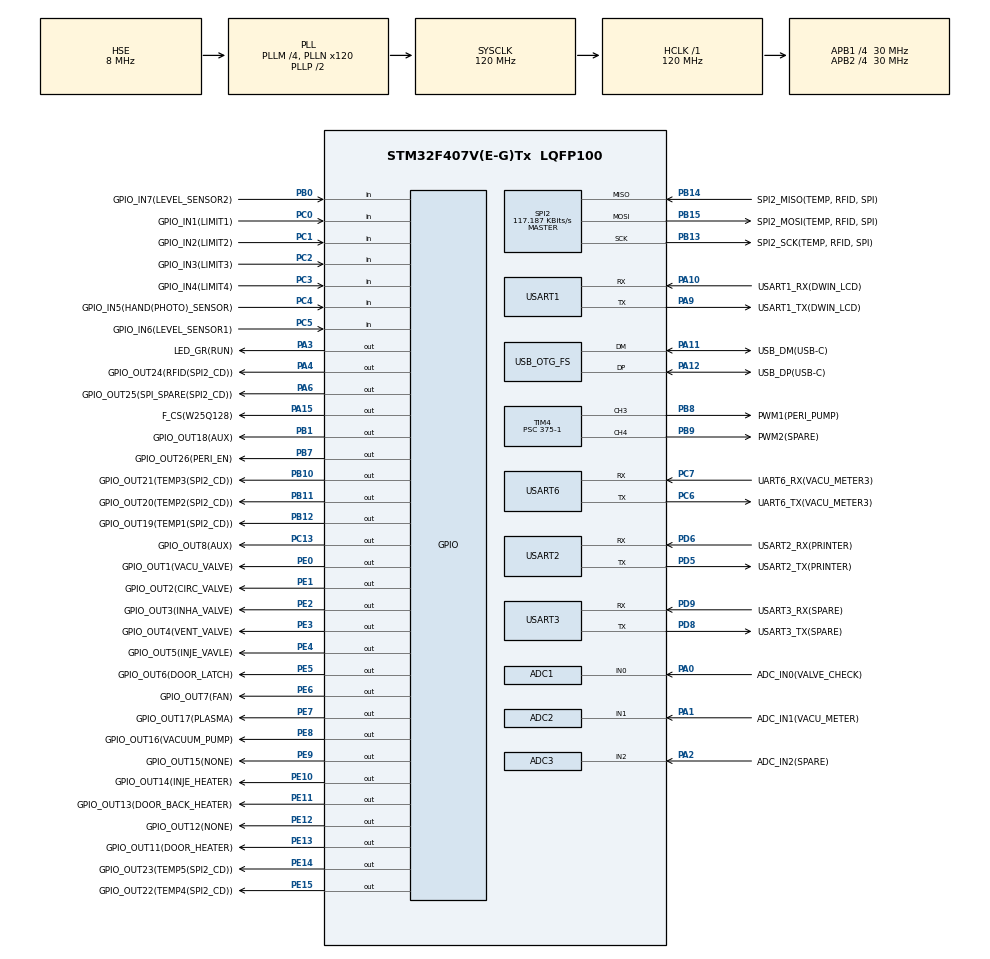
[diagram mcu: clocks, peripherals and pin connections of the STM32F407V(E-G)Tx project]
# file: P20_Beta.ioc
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ADC1.Channel-3\#ChannelRegularConversion=ADC_CHANNEL_0
ADC1.Channel-4\#ChannelInjectedConversion=ADC_CHANNEL_0
ADC1.ClockPrescaler=ADC_CLOCK_SYNC_PCLK_DIV8
ADC1.InjNumberOfConversion=1
ADC1.InjectedOffset-4\#ChannelInjectedConversion=0
ADC1.InjectedRank-4\#ChannelInjectedConversion=1
ADC1.NbrOfConversion=1
ADC1.NbrOfConversionFlag=1
ADC1.Rank-3\#ChannelRegularConversion=1
ADC1.SamplingTime-3\#ChannelRegularConversion=ADC_SAMPLETIME_3CYCLES
ADC1.SamplingTime-4\#ChannelInjectedConversion=ADC_SAMPLETIME_3CYCLES
ADC1.master=1
ADC2.Channel-10\#ChannelRegularConversion=ADC_CHANNEL_1
ADC2.Channel-11\#ChannelRegularConversion=ADC_CHANNEL_1
ADC2.Channel-12\#ChannelRegularConversion=ADC_CHANNEL_1
ADC2.Channel-13\#ChannelRegularConversion=ADC_CHANNEL_1
ADC2.Channel-14\#ChannelRegularConversion=ADC_CHANNEL_1
ADC2.ClockPrescaler=ADC_CLOCK_SYNC_PCLK_DIV8
ADC2.ContinuousConvMode=ENABLE
ADC2.DMAContinuousRequests=ENABLE
ADC2.DiscontinuousConvMode=DISABLE
ADC2.NbrOfConversion=5
ADC2.NbrOfConversionFlag=1
ADC2.Rank-10\#ChannelRegularConversion=1
ADC2.Rank-11\#ChannelRegularConversion=2
ADC2.Rank-12\#ChannelRegularConversion=3
ADC2.Rank-13\#ChannelRegularConversion=4
ADC2.Rank-14\#ChannelRegularConversion=5
ADC2.SamplingTime-10\#ChannelRegularConversion=ADC_SAMPLETIME_15CYCLES
ADC2.SamplingTime-11\#ChannelRegularConversion=ADC_SAMPLETIME_15CYCLES
ADC2.SamplingTime-12\#ChannelRegularConversion=ADC_SAMPLETIME_15CYCLES
ADC2.SamplingTime-13\#ChannelRegularConversion=ADC_SAMPLETIME_15CYCLES
ADC2.SamplingTime-14\#ChannelRegularConversion=ADC_SAMPLETIME_15CYCLES
ADC2.ScanConvMode=ENABLE
ADC3.Channel-2\#ChannelRegularConversion=ADC_CHANNEL_2
ADC3.ClockPrescaler=ADC_CLOCK_SYNC_PCLK_DIV8
ADC3.NbrOfConversionFlag=1
ADC3.Rank-2\#ChannelRegularConversion=1
ADC3.SamplingTime-2\#ChannelRegularConversion=ADC_SAMPLETIME_3CYCLES
Dma.ADC2.0.Direction=DMA_PERIPH_TO_MEMORY
Dma.ADC2.0.FIFOMode=DMA_FIFOMODE_DISABLE
Dma.ADC2.0.Instance=DMA2_Stream2
Dma.ADC2.0.MemDataAlignment=DMA_MDATAALIGN_WORD
Dma.ADC2.0.MemInc=DMA_MINC_ENABLE
Dma.ADC2.0.Mode=DMA_CIRCULAR
Dma.ADC2.0.PeriphDataAlignment=DMA_PDATAALIGN_WORD
Dma.ADC2.0.PeriphInc=DMA_PINC_DISABLE
Dma.ADC2.0.Priority=DMA_PRIORITY_LOW
Dma.Request0=ADC2
FATFS._USE_LFN=1
Mcu.Family=STM32F4
Mcu.Name=STM32F407V(E-G)Tx
Mcu.Package=LQFP100
NVIC.DMA2_Stream2_IRQn=true\:0\:0\:false\:false\:true\:false\:true\:true
NVIC.OTG_FS_IRQn=true\:0\:0\:false\:false\:true\:false\:true\:true
NVIC.PriorityGroup=NVIC_PRIORITYGROUP_4
NVIC.TIM6_DAC_IRQn=true\:15\:0\:false\:false\:true\:false\:true\:true
NVIC.TIM7_IRQn=true\:0\:0\:false\:true\:true\:2\:true\:true\:true
NVIC.TimeBase=TIM6_DAC_IRQn
NVIC.TimeBaseIP=TIM6
NVIC.USART1_IRQn=true\:5\:0\:true\:true\:true\:1\:true\:true\:true
PA0-WKUP.GPIO_Label=ADC_IN0(VALVE_CHECK)
PA0-WKUP.Signal=ADCx_IN0
PA1.GPIO_Label=ADC_IN1(VACU_METER)
PA1.Signal=ADCx_IN1
PA10.GPIO_Label=USART1_RX(DWIN_LCD)
PA10.GPIO_PuPd=GPIO_PULLUP
PA10.Mode=Asynchronous
PA10.Signal=USART1_RX
PA11.GPIO_Label=USB_DM(USB-C)
PA11.GPIO_PuPd=GPIO_PULLUP
PA11.GPIO_Speed=GPIO_SPEED_FREQ_HIGH
PA11.Mode=Host_Only
PA11.Signal=USB_OTG_FS_DM
PA12.GPIO_Label=USB_DP(USB-C)
PA12.GPIO_PuPd=GPIO_PULLUP
PA12.GPIO_Speed=GPIO_SPEED_FREQ_HIGH
PA12.Mode=Host_Only
PA12.Signal=USB_OTG_FS_DP
PA13.Mode=Trace_Asynchronous_SW
PA13.Signal=SYS_JTMS-SWDIO
PA14.Mode=Trace_Asynchronous_SW
PA14.Signal=SYS_JTCK-SWCLK
PA15.GPIO_Label=F_CS(W25Q128)
PA15.GPIO_PuPd=GPIO_PULLUP
PA15.GPIO_Speed=GPIO_SPEED_FREQ_LOW
PA15.PinState=GPIO_PIN_RESET
PA15.Signal=GPIO_Output
PA2.GPIO_Label=ADC_IN2(SPARE)
PA2.Signal=ADCx_IN2
PA3.GPIO_Label=LED_GR(RUN)
PA3.Signal=GPIO_Output
PA4.GPIO_Label=GPIO_OUT24(RFID(SPI2_CD))
PA4.GPIO_PuPd=GPIO_PULLUP
PA4.GPIO_Speed=GPIO_SPEED_FREQ_VERY_HIGH
PA4.PinState=GPIO_PIN_SET
PA4.Signal=GPIO_Output
PA5.GPIO_Mode=GPIO_MODE_AF_PP
PA5.GPIO_PuPd=GPIO_PULLDOWN
PA5.GPIO_Speed=GPIO_SPEED_FREQ_HIGH
PA5.Signal=SPI1_SCK
PA6.GPIO_Label=GPIO_OUT25(SPI_SPARE(SPI2_CD))
PA6.GPIO_PuPd=GPIO_PULLUP
PA6.GPIO_Speed=GPIO_SPEED_FREQ_VERY_HIGH
PA6.PinState=GPIO_PIN_SET
PA6.Signal=GPIO_Output
PA9.GPIO_Label=USART1_TX(DWIN_LCD)
PA9.GPIO_PuPd=GPIO_PULLUP
PA9.Mode=Asynchronous
PA9.Signal=USART1_TX
PB0.GPIO_Label=GPIO_IN7(LEVEL_SENSOR2)
PB0.Signal=GPIO_Input
PB1.GPIO_Label=GPIO_OUT18(AUX)
PB1.GPIO_ModeDefaultOutputPP=GPIO_MODE_OUTPUT_OD
PB1.PinState=GPIO_PIN_SET
PB1.Signal=GPIO_Output
PB10.GPIO_Label=GPIO_OUT21(TEMP3(SPI2_CD))
PB10.GPIO_PuPd=GPIO_PULLUP
PB10.GPIO_Speed=GPIO_SPEED_FREQ_VERY_HIGH
PB10.PinState=GPIO_PIN_SET
PB10.Signal=GPIO_Output
PB11.GPIO_Label=GPIO_OUT20(TEMP2(SPI2_CD))
PB11.GPIO_PuPd=GPIO_PULLUP
PB11.GPIO_Speed=GPIO_SPEED_FREQ_VERY_HIGH
PB11.PinState=GPIO_PIN_SET
PB11.Signal=GPIO_Output
PB12.GPIO_Label=GPIO_OUT19(TEMP1(SPI2_CD))
PB12.GPIO_PuPd=GPIO_PULLUP
PB12.GPIO_Speed=GPIO_SPEED_FREQ_VERY_HIGH
PB12.PinState=GPIO_PIN_SET
PB12.Signal=GPIO_Output
PB13.GPIO_Label=SPI2_SCK(TEMP, RFID, SPI)
PB13.Mode=Full_Duplex_Master
PB13.Signal=SPI2_SCK
PB14.GPIO_Label=SPI2_MISO(TEMP, RFID, SPI)
PB14.GPIO_PuPd=GPIO_PULLUP
PB14.Mode=Full_Duplex_Master
PB14.Signal=SPI2_MISO
PB15.GPIO_Label=SPI2_MOSI(TEMP, RFID, SPI)
PB15.GPIO_PuPd=GPIO_PULLUP
PB15.Mode=Full_Duplex_Master
PB15.Signal=SPI2_MOSI
PB3.Mode=Trace_Asynchronous_SW
PB3.Signal=SYS_JTDO-SWO
PB4.GPIO_Mode=GPIO_MODE_AF_PP
PB4.GPIO_PuPd=GPIO_PULLUP
PB4.GPIO_Speed=GPIO_SPEED_FREQ_HIGH
PB4.Signal=SPI1_MISO
PB5.GPIO_Mode=GPIO_MODE_AF_PP
PB5.GPIO_PuPd=GPIO_NOPULL
PB5.GPIO_Speed=GPIO_SPEED_FREQ_HIGH
PB5.Signal=SPI1_MOSI
PB7.GPIO_Label=GPIO_OUT26(PERI_EN)
PB7.GPIO_ModeDefaultOutputPP=GPIO_MODE_OUTPUT_OD
PB7.PinState=GPIO_PIN_SET
PB7.Signal=GPIO_Output
PB8.GPIO_Label=PWM1(PERI_PUMP)
PB8.GPIO_ModeDefaultPP=GPIO_MODE_AF_PP
PB8.GPIO_PuPd=GPIO_PULLUP
PB8.Signal=S_TIM4_CH3
PB9.GPIO_Label=PWM2(SPARE)
PB9.GPIO_PuPd=GPIO_PULLUP
PB9.Signal=S_TIM4_CH4
PC0.GPIO_Label=GPIO_IN1(LIMIT1)
PC0.Signal=GPIO_Input
PC1.GPIO_Label=GPIO_IN2(LIMIT2)
PC1.Signal=GPIO_Input
PC10.GPIO_Label=SDIO_D2(MICRO_SD)
PC10.GPIO_PuPd=GPIO_PULLUP
PC10.Signal=SDIO_D2
PC11.GPIO_Label=SDIO_D3(MICRO_SD)
PC11.GPIO_PuPd=GPIO_PULLUP
PC11.Signal=SDIO_D3
PC12.GPIO_Label=SDIO_CK(MICRO_SD)
PC12.GPIO_PuPd=GPIO_PULLUP
PC12.Signal=SDIO_CK
PC13-ANTI_TAMP.GPIO_Label=GPIO_OUT8(AUX)
PC13-ANTI_TAMP.Signal=GPIO_Output
PC2.GPIO_Label=GPIO_IN3(LIMIT3)
PC2.Signal=GPIO_Input
PC3.GPIO_Label=GPIO_IN4(LIMIT4)
PC3.Signal=GPIO_Input
PC4.GPIO_Label=GPIO_IN5(HAND(PHOTO)_SENSOR)
PC4.Signal=GPIO_Input
PC5.GPIO_Label=GPIO_IN6(LEVEL_SENSOR1)
PC5.Signal=GPIO_Input
PC6.GPIO_Label=UART6_TX(VACU_METER3)
PC6.Mode=Asynchronous
PC6.Signal=USART6_TX
PC7.GPIO_Label=UART6_RX(VACU_METER3)
PC7.Mode=Asynchronous
PC7.Signal=USART6_RX
PC8.GPIO_Label=SDIO_D0(MICRO_SD)
PC8.GPIO_PuPd=GPIO_PULLUP
PC8.Signal=SDIO_D0
PC9.GPIO_Label=SDIO_D1(MICRO_SD)
PC9.GPIO_PuPd=GPIO_PULLUP
PC9.Signal=SDIO_D1
PD2.GPIO_Label=SDIO_CMD(MICRO_SD)
PD2.GPIO_PuPd=GPIO_PULLUP
PD2.Signal=SDIO_CMD
PD5.GPIO_Label=USART2_TX(PRINTER)
PD5.GPIO_PuPd=GPIO_PULLUP
PD5.Mode=Asynchronous
PD5.Signal=USART2_TX
PD6.GPIO_Label=USART2_RX(PRINTER)
PD6.GPIO_PuPd=GPIO_PULLUP
PD6.Mode=Asynchronous
PD6.Signal=USART2_RX
PD8.GPIO_Label=USART3_TX(SPARE)
PD8.Mode=Asynchronous
PD8.Signal=USART3_TX
PD9.GPIO_Label=USART3_RX(SPARE)
PD9.Mode=Asynchronous
PD9.Signal=USART3_RX
PE0.GPIO_Label=GPIO_OUT1(VACU_VALVE)
PE0.GPIO_ModeDefaultOutputPP=GPIO_MODE_OUTPUT_PP
PE0.GPIO_Speed=GPIO_SPEED_FREQ_VERY_HIGH
PE0.Signal=GPIO_Output
PE1.GPIO_Label=GPIO_OUT2(CIRC_VALVE)
PE1.Signal=GPIO_Output
PE10.GPIO_Label=GPIO_OUT14(INJE_HEATER)
PE10.GPIO_ModeDefaultOutputPP=GPIO_MODE_OUTPUT_OD
PE10.PinState=GPIO_PIN_SET
PE10.Signal=GPIO_Output
PE11.GPIO_Label=GPIO_OUT13(DOOR_BACK_HEATER)
PE11.GPIO_ModeDefaultOutputPP=GPIO_MODE_OUTPUT_OD
PE11.PinState=GPIO_PIN_SET
PE11.Signal=GPIO_Output
PE12.GPIO_Label=GPIO_OUT12(NONE)
PE12.GPIO_ModeDefaultOutputPP=GPIO_MODE_OUTPUT_OD
PE12.PinState=GPIO_PIN_SET
PE12.Signal=GPIO_Output
PE13.GPIO_Label=GPIO_OUT11(DOOR_HEATER)
PE13.GPIO_ModeDefaultOutputPP=GPIO_MODE_OUTPUT_OD
PE13.PinState=GPIO_PIN_SET
PE13.Signal=GPIO_Output
PE14.GPIO_Label=GPIO_OUT23(TEMP5(SPI2_CD))
PE14.GPIO_PuPd=GPIO_PULLUP
PE14.GPIO_Speed=GPIO_SPEED_FREQ_VERY_HIGH
PE14.PinState=GPIO_PIN_SET
PE14.Signal=GPIO_Output
PE15.GPIO_Label=GPIO_OUT22(TEMP4(SPI2_CD))
PE15.GPIO_PuPd=GPIO_PULLUP
PE15.GPIO_Speed=GPIO_SPEED_FREQ_VERY_HIGH
PE15.PinState=GPIO_PIN_SET
PE15.Signal=GPIO_Output
PE2.GPIO_Label=GPIO_OUT3(INHA_VALVE)
PE2.Signal=GPIO_Output
PE3.GPIO_Label=GPIO_OUT4(VENT_VALVE)
PE3.Signal=GPIO_Output
PE4.GPIO_Label=GPIO_OUT5(INJE_VAVLE)
PE4.Signal=GPIO_Output
PE5.GPIO_Label=GPIO_OUT6(DOOR_LATCH)
PE5.Signal=GPIO_Output
PE6.GPIO_Label=GPIO_OUT7(FAN)
PE6.Signal=GPIO_Output
PE7.GPIO_Label=GPIO_OUT17(PLASMA)
PE7.GPIO_ModeDefaultOutputPP=GPIO_MODE_OUTPUT_OD
PE7.PinState=GPIO_PIN_SET
PE7.Signal=GPIO_Output
PE8.GPIO_Label=GPIO_OUT16(VACUUM_PUMP)
PE8.GPIO_ModeDefaultOutputPP=GPIO_MODE_OUTPUT_OD
PE8.PinState=GPIO_PIN_SET
PE8.Signal=GPIO_Output
PE9.GPIO_Label=GPIO_OUT15(NONE)
PE9.GPIO_ModeDefaultOutputPP=GPIO_MODE_OUTPUT_OD
PE9.PinState=GPIO_PIN_SET
PE9.Signal=GPIO_Output
PH0-OSC_IN.Mode=HSE-External-Oscillator
PH0-OSC_IN.Signal=RCC_OSC_IN
PH1-OSC_OUT.Mode=HSE-External-Oscillator
PH1-OSC_OUT.Signal=RCC_OSC_OUT
ProjectManager.HeapSize=0x200
ProjectManager.StackSize=0x400
ProjectManager.TargetToolchain=STM32CubeIDE
RCC.48MHZClocksFreq_Value=48000000
RCC.AHBFreq_Value=120000000
RCC.APB1CLKDivider=RCC_HCLK_DIV4
RCC.APB1Freq_Value=30000000
RCC.APB1TimFreq_Value=60000000
RCC.APB2CLKDivider=RCC_HCLK_DIV4
RCC.APB2Freq_Value=30000000
RCC.APB2TimFreq_Value=60000000
RCC.CortexFreq_Value=120000000
RCC.HCLKFreq_Value=120000000
RCC.HSE_VALUE=8000000
RCC.HSI_VALUE=16000000
RCC.LSE_VALUE=32768
RCC.PLLM=4
RCC.PLLN=120
RCC.PLLQ=5
RCC.PLLSourceVirtual=RCC_PLLSOURCE_HSE
RCC.SYSCLKFreq_VALUE=120000000
RCC.SYSCLKSource=RCC_SYSCLKSOURCE_PLLCLK
RCC.VCOOutputFreq_Value=240000000
SH.ADCx_IN0.0=ADC1_IN0,IN0
SH.ADCx_IN1.0=ADC2_IN1,IN1
SH.ADCx_IN2.0=ADC3_IN2,IN2
SH.S_TIM4_CH3.0=TIM4_CH3,PWM Generation3 CH3
SH.S_TIM4_CH4.0=TIM4_CH4,PWM Generation4 CH4
SPI2.BaudRatePrescaler=SPI_BAUDRATEPRESCALER_256
SPI2.CalculateBaudRate=117.187 KBits/s
SPI2.Direction=SPI_DIRECTION_2LINES
SPI2.Mode=SPI_MODE_MASTER
SPI2.VirtualType=VM_MASTER
TIM4.AutoReloadPreload=TIM_AUTORELOAD_PRELOAD_ENABLE
TIM4.Channel-PWM\ Generation3\ CH3=TIM_CHANNEL_3
TIM4.Channel-PWM\ Generation4\ CH4=TIM_CHANNEL_4
TIM4.Period=550-1
TIM4.Prescaler=375-1
TIM4.Pulse-PWM\ Generation3\ CH3=550/2-1
TIM4.Pulse-PWM\ Generation4\ CH4=550/2-1
TIM7.Period=6000-1
TIM7.Prescaler=10-1
USART1.VirtualMode=VM_ASYNC
USART2.VirtualMode=VM_ASYNC
USART3.VirtualMode=VM_ASYNC
USART6.VirtualMode=VM_ASYNC
USB_HOST.SW_VBUS_DRIVE_MSC_FS=true
USB_HOST.USBH_HandleTypeDef-MSC_FS=hUsbHostFS
USB_HOST.USBH_PROCESS_STACK_SIZE-MSC_FS=1024
USB_HOST.VirtualModeFS=Msc
USB_OTG_FS.VirtualMode=Host_Only
USB_OTG_FS.phy_itface=HCD_PHY_EMBEDDED
VP_CRC_VS_CRC.Mode=CRC_Activate
VP_FATFS_VS_USB.Mode=USB
VP_RTC_VS_RTC_Activate.Mode=RTC_Enabled
VP_RTC_VS_RTC_Calendar.Mode=RTC_Calendar
VP_SYS_VS_tim6.Mode=TIM6
VP_TIM7_VS_ClockSourceINT.Mode=Enable_Timer
VP_USB_HOST_VS_USB_HOST_MSC_FS.Mode=MSC_FS
board=custom

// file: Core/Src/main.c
/* USER CODE BEGIN Header */
/**
  ******************************************************************************
  * @file           : main.c
  * @brief          : Main program body
  ******************************************************************************
  * @attention
  *
  * Copyright (c) 2024 STMicroelectronics.
  * All rights reserved.
  *
  * This software is licensed under terms that can be found in the LICENSE file
  * in the root directory of this software component.
  * If no LICENSE file comes with this software, it is provided AS-IS.
  *
  ******************************************************************************
  */
/* USER CODE END Header */
#include "main.h"
#include "fatfs.h"
#include "usb_host.h"

/* USER CODE BEGIN Includes */
#include "hardware.h"
#include "sensor.h"
#include "peripheral.h"
/* USER CODE END Includes */

ADC_HandleTypeDef hadc1;
ADC_HandleTypeDef hadc2;
ADC_HandleTypeDef hadc3;
DMA_HandleTypeDef hdma_adc2;

CRC_HandleTypeDef hcrc;

RTC_HandleTypeDef hrtc;

SPI_HandleTypeDef hspi2;

TIM_HandleTypeDef htim4;
TIM_HandleTypeDef htim7;

UART_HandleTypeDef huart1;
UART_HandleTypeDef huart2;
UART_HandleTypeDef huart3;
UART_HandleTypeDef huart6;

void SystemClock_Config(void);
static void MX_GPIO_Init(void);
static void MX_DMA_Init(void);
static void MX_RTC_Init(void);
static void MX_SPI2_Init(void);
static void MX_TIM4_Init(void);
static void MX_TIM7_Init(void);
static void MX_USART1_UART_Init(void);
static void MX_USART2_UART_Init(void);
static void MX_USART3_UART_Init(void);
static void MX_USART6_UART_Init(void);
static void MX_ADC2_Init(void);
static void MX_ADC1_Init(void);
static void MX_ADC3_Init(void);
static void MX_CRC_Init(void);
static void MX_NVIC_Init(void);
void MX_USB_HOST_Process(void);

/* USER CODE BEGIN 0 */

unsigned int	mscounter;
unsigned int	EndTimeCounter, EndTestTimeCounter;
unsigned char Timer_DeliSecond_Flag, Timer_Half_1s_Flag, Timer_1s_Flag;
unsigned char UART_Receive_Flag;
unsigned char Running_Flag, EndTimer_Flag, ProcessWait_Flag;

void HAL_UART_RxCpltCallback(UART_HandleTypeDef *huart)
{
    if(huart->Instance == USART1)
    {
    	UART_Receive_Flag = 1;
    	// Restart Interrupt.
    	//HAL_UART_Receive_IT(&huart1, (uint8_t*)LCD_rx_data, 9);
    	//HAL_GPIO_TogglePin(LED_GR_GPIO_Port, LED_GR_Pin);

    }
}

/* USER CODE END 0 */

int main(void)
{

  /* MCU Configuration--------------------------------------------------------*/

  /* Reset of all peripherals, Initializes the Flash interface and the Systick. */
  HAL_Init();

  /* Configure the system clock */
  SystemClock_Config();

  /* Initialize all configured peripherals */
  MX_GPIO_Init();
  MX_DMA_Init();
  MX_RTC_Init();
  MX_SPI2_Init();
  MX_TIM4_Init();
  MX_TIM7_Init();
  MX_USART1_UART_Init();
  MX_USART2_UART_Init();
  MX_USART3_UART_Init();
  MX_USART6_UART_Init();
  MX_ADC2_Init();
  MX_ADC1_Init();
  MX_ADC3_Init();
  MX_CRC_Init();
  MX_FATFS_Init();
  MX_USB_HOST_Init();

  /* Initialize interrupts */
  MX_NVIC_Init();
  /* USER CODE BEGIN 2 */
  HAL_TIM_Base_Start_IT(&htim7);
  Init_Device();
  /* USER CODE END 2 */

  /* Infinite loop */
  /* USER CODE BEGIN WHILE */
  while (1)
  {
	  loop();
    /* USER CODE END WHILE */
    MX_USB_HOST_Process();

  }
}

void SystemClock_Config(void)
{
  RCC_OscInitTypeDef RCC_OscInitStruct = {0};
  RCC_ClkInitTypeDef RCC_ClkInitStruct = {0};

  /** Configure the main internal regulator output voltage
  */
  __HAL_RCC_PWR_CLK_ENABLE();
  __HAL_PWR_VOLTAGESCALING_CONFIG(PWR_REGULATOR_VOLTAGE_SCALE1);

  /** Initializes the RCC Oscillators according to the specified parameters
  * in the RCC_OscInitTypeDef structure.
  */
  RCC_OscInitStruct.OscillatorType = RCC_OSCILLATORTYPE_LSI|RCC_OSCILLATORTYPE_HSE;
  RCC_OscInitStruct.HSEState = RCC_HSE_ON;
  RCC_OscInitStruct.LSIState = RCC_LSI_ON;
  RCC_OscInitStruct.PLL.PLLState = RCC_PLL_ON;
  RCC_OscInitStruct.PLL.PLLSource = RCC_PLLSOURCE_HSE;
  RCC_OscInitStruct.PLL.PLLM = 4;
  RCC_OscInitStruct.PLL.PLLN = 120;
  RCC_OscInitStruct.PLL.PLLP = RCC_PLLP_DIV2;
  RCC_OscInitStruct.PLL.PLLQ = 5;
  if (HAL_RCC_OscConfig(&RCC_OscInitStruct) != HAL_OK)
  {
    Error_Handler();
  }

  /** Initializes the CPU, AHB and APB buses clocks
  */
  RCC_ClkInitStruct.ClockType = RCC_CLOCKTYPE_HCLK|RCC_CLOCKTYPE_SYSCLK
                              |RCC_CLOCKTYPE_PCLK1|RCC_CLOCKTYPE_PCLK2;
  RCC_ClkInitStruct.SYSCLKSource = RCC_SYSCLKSOURCE_PLLCLK;
  RCC_ClkInitStruct.AHBCLKDivider = RCC_SYSCLK_DIV1;
  RCC_ClkInitStruct.APB1CLKDivider = RCC_HCLK_DIV4;
  RCC_ClkInitStruct.APB2CLKDivider = RCC_HCLK_DIV4;

  if (HAL_RCC_ClockConfig(&RCC_ClkInitStruct, FLASH_LATENCY_3) != HAL_OK)
  {
    Error_Handler();
  }
}

/**
  * @brief NVIC Configuration.
  * @retval None
  */
static void MX_NVIC_Init(void)
{
  /* USART1_IRQn interrupt configuration */
  HAL_NVIC_SetPriority(USART1_IRQn, 5, 0);
  HAL_NVIC_EnableIRQ(USART1_IRQn);
  /* TIM7_IRQn interrupt configuration */
  HAL_NVIC_SetPriority(TIM7_IRQn, 0, 0);
  HAL_NVIC_EnableIRQ(TIM7_IRQn);
}

static void MX_ADC1_Init(void)
{

  ADC_ChannelConfTypeDef sConfig = {0};
  ADC_InjectionConfTypeDef sConfigInjected = {0};

  /** Configure the global features of the ADC (Clock, Resolution, Data Alignment and number of conversion)
  */
  hadc1.Instance = ADC1;
  hadc1.Init.ClockPrescaler = ADC_CLOCK_SYNC_PCLK_DIV8;
  hadc1.Init.Resolution = ADC_RESOLUTION_12B;
  hadc1.Init.ScanConvMode = DISABLE;
  hadc1.Init.ContinuousConvMode = DISABLE;
  hadc1.Init.DiscontinuousConvMode = DISABLE;
  hadc1.Init.ExternalTrigConvEdge = ADC_EXTERNALTRIGCONVEDGE_NONE;
  hadc1.Init.ExternalTrigConv = ADC_SOFTWARE_START;
  hadc1.Init.DataAlign = ADC_DATAALIGN_RIGHT;
  hadc1.Init.NbrOfConversion = 1;
  hadc1.Init.DMAContinuousRequests = DISABLE;
  hadc1.Init.EOCSelection = ADC_EOC_SINGLE_CONV;
  if (HAL_ADC_Init(&hadc1) != HAL_OK)
  {
    Error_Handler();
  }

  /** Configure for the selected ADC regular channel its corresponding rank in the sequencer and its sample time.
  */
  sConfig.Channel = ADC_CHANNEL_0;
  sConfig.Rank = 1;
  sConfig.SamplingTime = ADC_SAMPLETIME_3CYCLES;
  if (HAL_ADC_ConfigChannel(&hadc1, &sConfig) != HAL_OK)
  {
    Error_Handler();
  }

  /** Configures for the selected ADC injected channel its corresponding rank in the sequencer and its sample time
  */
  sConfigInjected.InjectedChannel = ADC_CHANNEL_0;
  sConfigInjected.InjectedRank = 1;
  sConfigInjected.InjectedNbrOfConversion = 1;
  sConfigInjected.InjectedSamplingTime = ADC_SAMPLETIME_3CYCLES;
  sConfigInjected.ExternalTrigInjecConvEdge = ADC_EXTERNALTRIGINJECCONVEDGE_NONE;
  sConfigInjected.ExternalTrigInjecConv = ADC_INJECTED_SOFTWARE_START;
  sConfigInjected.AutoInjectedConv = DISABLE;
  sConfigInjected.InjectedDiscontinuousConvMode = DISABLE;
  sConfigInjected.InjectedOffset = 0;
  if (HAL_ADCEx_InjectedConfigChannel(&hadc1, &sConfigInjected) != HAL_OK)
  {
    Error_Handler();
  }

}

static void MX_ADC2_Init(void)
{

  ADC_ChannelConfTypeDef sConfig = {0};

  /** Configure the global features of the ADC (Clock, Resolution, Data Alignment and number of conversion)
  */
  hadc2.Instance = ADC2;
  hadc2.Init.ClockPrescaler = ADC_CLOCK_SYNC_PCLK_DIV8;
  hadc2.Init.Resolution = ADC_RESOLUTION_12B;
  hadc2.Init.ScanConvMode = ENABLE;
  hadc2.Init.ContinuousConvMode = ENABLE;
  hadc2.Init.DiscontinuousConvMode = DISABLE;
  hadc2.Init.ExternalTrigConvEdge = ADC_EXTERNALTRIGCONVEDGE_NONE;
  hadc2.Init.ExternalTrigConv = ADC_SOFTWARE_START;
  hadc2.Init.DataAlign = ADC_DATAALIGN_RIGHT;
  hadc2.Init.NbrOfConversion = 5;
  hadc2.Init.DMAContinuousRequests = ENABLE;
  hadc2.Init.EOCSelection = ADC_EOC_SINGLE_CONV;
  if (HAL_ADC_Init(&hadc2) != HAL_OK)
  {
    Error_Handler();
  }

  /** Configure for the selected ADC regular channel its corresponding rank in the sequencer and its sample time.
  */
  sConfig.Channel = ADC_CHANNEL_1;
  sConfig.Rank = 1;
  sConfig.SamplingTime = ADC_SAMPLETIME_15CYCLES;
  if (HAL_ADC_ConfigChannel(&hadc2, &sConfig) != HAL_OK)
  {
    Error_Handler();
  }

  /** Configure for the selected ADC regular channel its corresponding rank in the sequencer and its sample time.
  */
  sConfig.Rank = 2;
  if (HAL_ADC_ConfigChannel(&hadc2, &sConfig) != HAL_OK)
  {
    Error_Handler();
  }

  /** Configure for the selected ADC regular channel its corresponding rank in the sequencer and its sample time.
  */
  sConfig.Rank = 3;
  if (HAL_ADC_ConfigChannel(&hadc2, &sConfig) != HAL_OK)
  {
    Error_Handler();
  }

  /** Configure for the selected ADC regular channel its corresponding rank in the sequencer and its sample time.
  */
  sConfig.Rank = 4;
  if (HAL_ADC_ConfigChannel(&hadc2, &sConfig) != HAL_OK)
  {
    Error_Handler();
  }

  /** Configure for the selected ADC regular channel its corresponding rank in the sequencer and its sample time.
  */
  sConfig.Rank = 5;
  if (HAL_ADC_ConfigChannel(&hadc2, &sConfig) != HAL_OK)
  {
    Error_Handler();
  }

}

static void MX_ADC3_Init(void)
{

  ADC_ChannelConfTypeDef sConfig = {0};

  /** Configure the global features of the ADC (Clock, Resolution, Data Alignment and number of conversion)
  */
  hadc3.Instance = ADC3;
  hadc3.Init.ClockPrescaler = ADC_CLOCK_SYNC_PCLK_DIV8;
  hadc3.Init.Resolution = ADC_RESOLUTION_12B;
  hadc3.Init.ScanConvMode = DISABLE;
  hadc3.Init.ContinuousConvMode = DISABLE;
  hadc3.Init.DiscontinuousConvMode = DISABLE;
  hadc3.Init.ExternalTrigConvEdge = ADC_EXTERNALTRIGCONVEDGE_NONE;
  hadc3.Init.ExternalTrigConv = ADC_SOFTWARE_START;
  hadc3.Init.DataAlign = ADC_DATAALIGN_RIGHT;
  hadc3.Init.NbrOfConversion = 1;
  hadc3.Init.DMAContinuousRequests = DISABLE;
  hadc3.Init.EOCSelection = ADC_EOC_SINGLE_CONV;
  if (HAL_ADC_Init(&hadc3) != HAL_OK)
  {
    Error_Handler();
  }

  /** Configure for the selected ADC regular channel its corresponding rank in the sequencer and its sample time.
  */
  sConfig.Channel = ADC_CHANNEL_2;
  sConfig.Rank = 1;
  sConfig.SamplingTime = ADC_SAMPLETIME_3CYCLES;
  if (HAL_ADC_ConfigChannel(&hadc3, &sConfig) != HAL_OK)
  {
    Error_Handler();
  }

}

static void MX_CRC_Init(void)
{

  hcrc.Instance = CRC;
  if (HAL_CRC_Init(&hcrc) != HAL_OK)
  {
    Error_Handler();
  }

}

static void MX_RTC_Init(void)
{

  RTC_TimeTypeDef sTime = {0};
  RTC_DateTypeDef sDate = {0};

  /** Initialize RTC Only
  */
  hrtc.Instance = RTC;
  hrtc.Init.HourFormat = RTC_HOURFORMAT_24;
  hrtc.Init.AsynchPrediv = 127;
  hrtc.Init.SynchPrediv = 255;
  hrtc.Init.OutPut = RTC_OUTPUT_DISABLE;
  hrtc.Init.OutPutPolarity = RTC_OUTPUT_POLARITY_HIGH;
  hrtc.Init.OutPutType = RTC_OUTPUT_TYPE_OPENDRAIN;
  if (HAL_RTC_Init(&hrtc) != HAL_OK)
  {
    Error_Handler();
  }

  /** Initialize RTC and set the Time and Date
  */
  sTime.Hours = 0x0;
  sTime.Minutes = 0x0;
  sTime.Seconds = 0x0;
  sTime.DayLightSaving = RTC_DAYLIGHTSAVING_NONE;
  sTime.StoreOperation = RTC_STOREOPERATION_RESET;
  if (HAL_RTC_SetTime(&hrtc, &sTime, RTC_FORMAT_BCD) != HAL_OK)
  {
    Error_Handler();
  }
  sDate.WeekDay = RTC_WEEKDAY_MONDAY;
  sDate.Month = RTC_MONTH_JANUARY;
  sDate.Date = 0x1;
  sDate.Year = 0x0;

  if (HAL_RTC_SetDate(&hrtc, &sDate, RTC_FORMAT_BCD) != HAL_OK)
  {
    Error_Handler();
  }

}

static void MX_SPI2_Init(void)
{

  /* SPI2 parameter configuration*/
  hspi2.Instance = SPI2;
  hspi2.Init.Mode = SPI_MODE_MASTER;
  hspi2.Init.Direction = SPI_DIRECTION_2LINES;
  hspi2.Init.DataSize = SPI_DATASIZE_8BIT;
  hspi2.Init.CLKPolarity = SPI_POLARITY_LOW;
  hspi2.Init.CLKPhase = SPI_PHASE_1EDGE;
  hspi2.Init.NSS = SPI_NSS_SOFT;
  hspi2.Init.BaudRatePrescaler = SPI_BAUDRATEPRESCALER_256;
  hspi2.Init.FirstBit = SPI_FIRSTBIT_MSB;
  hspi2.Init.TIMode = SPI_TIMODE_DISABLE;
  hspi2.Init.CRCCalculation = SPI_CRCCALCULATION_DISABLE;
  hspi2.Init.CRCPolynomial = 10;
  if (HAL_SPI_Init(&hspi2) != HAL_OK)
  {
    Error_Handler();
  }

}

static void MX_TIM4_Init(void)
{

  TIM_MasterConfigTypeDef sMasterConfig = {0};
  TIM_OC_InitTypeDef sConfigOC = {0};

  htim4.Instance = TIM4;
  htim4.Init.Prescaler = 375-1;
  htim4.Init.CounterMode = TIM_COUNTERMODE_UP;
  htim4.Init.Period = 550-1;
  htim4.Init.ClockDivision = TIM_CLOCKDIVISION_DIV1;
  htim4.Init.AutoReloadPreload = TIM_AUTORELOAD_PRELOAD_ENABLE;
  if (HAL_TIM_PWM_Init(&htim4) != HAL_OK)
  {
    Error_Handler();
  }
  sMasterConfig.MasterOutputTrigger = TIM_TRGO_RESET;
  sMasterConfig.MasterSlaveMode = TIM_MASTERSLAVEMODE_DISABLE;
  if (HAL_TIMEx_MasterConfigSynchronization(&htim4, &sMasterConfig) != HAL_OK)
  {
    Error_Handler();
  }
  sConfigOC.OCMode = TIM_OCMODE_PWM1;
  sConfigOC.Pulse = 550/2-1;
  sConfigOC.OCPolarity = TIM_OCPOLARITY_HIGH;
  sConfigOC.OCFastMode = TIM_OCFAST_DISABLE;
  if (HAL_TIM_PWM_ConfigChannel(&htim4, &sConfigOC, TIM_CHANNEL_3) != HAL_OK)
  {
    Error_Handler();
  }
  if (HAL_TIM_PWM_ConfigChannel(&htim4, &sConfigOC, TIM_CHANNEL_4) != HAL_OK)
  {
    Error_Handler();
  }
  HAL_TIM_MspPostInit(&htim4);

}

static void MX_TIM7_Init(void)
{

  TIM_MasterConfigTypeDef sMasterConfig = {0};

  htim7.Instance = TIM7;
  htim7.Init.Prescaler = 10-1;
  htim7.Init.CounterMode = TIM_COUNTERMODE_UP;
  htim7.Init.Period = 6000-1;
  htim7.Init.AutoReloadPreload = TIM_AUTORELOAD_PRELOAD_DISABLE;
  if (HAL_TIM_Base_Init(&htim7) != HAL_OK)
  {
    Error_Handler();
  }
  sMasterConfig.MasterOutputTrigger = TIM_TRGO_RESET;
  sMasterConfig.MasterSlaveMode = TIM_MASTERSLAVEMODE_DISABLE;
  if (HAL_TIMEx_MasterConfigSynchronization(&htim7, &sMasterConfig) != HAL_OK)
  {
    Error_Handler();
  }

}

static void MX_USART1_UART_Init(void)
{

  huart1.Instance = USART1;
  huart1.Init.BaudRate = 115200;
  huart1.Init.WordLength = UART_WORDLENGTH_8B;
  huart1.Init.StopBits = UART_STOPBITS_1;
  huart1.Init.Parity = UART_PARITY_NONE;
  huart1.Init.Mode = UART_MODE_TX_RX;
  huart1.Init.HwFlowCtl = UART_HWCONTROL_NONE;
  huart1.Init.OverSampling = UART_OVERSAMPLING_16;
  if (HAL_UART_Init(&huart1) != HAL_OK)
  {
    Error_Handler();
  }

}

static void MX_USART2_UART_Init(void)
{

  huart2.Instance = USART2;
  huart2.Init.BaudRate = 115200;
  huart2.Init.WordLength = UART_WORDLENGTH_8B;
  huart2.Init.StopBits = UART_STOPBITS_1;
  huart2.Init.Parity = UART_PARITY_NONE;
  huart2.Init.Mode = UART_MODE_TX_RX;
  huart2.Init.HwFlowCtl = UART_HWCONTROL_NONE;
  huart2.Init.OverSampling = UART_OVERSAMPLING_16;
  if (HAL_UART_Init(&huart2) != HAL_OK)
  {
    Error_Handler();
  }

}

static void MX_USART3_UART_Init(void)
{

  huart3.Instance = USART3;
  huart3.Init.BaudRate = 115200;
  huart3.Init.WordLength = UART_WORDLENGTH_8B;
  huart3.Init.StopBits = UART_STOPBITS_1;
  huart3.Init.Parity = UART_PARITY_NONE;
  huart3.Init.Mode = UART_MODE_TX_RX;
  huart3.Init.HwFlowCtl = UART_HWCONTROL_NONE;
  huart3.Init.OverSampling = UART_OVERSAMPLING_16;
  if (HAL_UART_Init(&huart3) != HAL_OK)
  {
    Error_Handler();
  }

}

static void MX_USART6_UART_Init(void)
{

  huart6.Instance = USART6;
  huart6.Init.BaudRate = 115200;
  huart6.Init.WordLength = UART_WORDLENGTH_8B;
  huart6.Init.StopBits = UART_STOPBITS_1;
  huart6.Init.Parity = UART_PARITY_NONE;
  huart6.Init.Mode = UART_MODE_TX_RX;
  huart6.Init.HwFlowCtl = UART_HWCONTROL_NONE;
  huart6.Init.OverSampling = UART_OVERSAMPLING_16;
  if (HAL_UART_Init(&huart6) != HAL_OK)
  {
    Error_Handler();
  }

}

static void MX_DMA_Init(void)
{

  /* DMA controller clock enable */
  __HAL_RCC_DMA2_CLK_ENABLE();

  /* DMA interrupt init */
  /* DMA2_Stream2_IRQn interrupt configuration */
  HAL_NVIC_SetPriority(DMA2_Stream2_IRQn, 0, 0);
  HAL_NVIC_EnableIRQ(DMA2_Stream2_IRQn);

}

static void MX_GPIO_Init(void)
{
  GPIO_InitTypeDef GPIO_InitStruct = {0};

  /* GPIO Ports Clock Enable */
  __HAL_RCC_GPIOE_CLK_ENABLE();
  __HAL_RCC_GPIOC_CLK_ENABLE();
  __HAL_RCC_GPIOH_CLK_ENABLE();
  __HAL_RCC_GPIOA_CLK_ENABLE();
  __HAL_RCC_GPIOB_CLK_ENABLE();
  __HAL_RCC_GPIOD_CLK_ENABLE();

  /*Configure GPIO pin Output Level */
  HAL_GPIO_WritePin(GPIOE, GPIO_OUT3_Pin|GPIO_OUT4_Pin|GPIO_OUT5_Pin|GPIO_OUT6_Pin
                          |GPIO_OUT7_Pin|GPIO_OUT1_Pin|GPIO_OUT2_Pin, GPIO_PIN_RESET);

  /*Configure GPIO pin Output Level */
  HAL_GPIO_WritePin(GPIO_OUT8_GPIO_Port, GPIO_OUT8_Pin, GPIO_PIN_RESET);

  /*Configure GPIO pin Output Level */
  HAL_GPIO_WritePin(GPIOA, LED_GR_Pin|F_CS_Pin, GPIO_PIN_RESET);

  /*Configure GPIO pin Output Level */
  HAL_GPIO_WritePin(GPIOA, GPIO_OUT24_Pin|GPIO_OUT25_Pin, GPIO_PIN_SET);

  /*Configure GPIO pin Output Level */
  HAL_GPIO_WritePin(GPIOB, GPIO_OUT18_Pin|GPIO_OUT21_Pin|GPIO_OUT20_Pin|GPIO_OUT19_Pin
                          |GPIO_OUT26_Pin, GPIO_PIN_SET);

  /*Configure GPIO pin Output Level */
  HAL_GPIO_WritePin(GPIOE, GPIO_OUT17_Pin|GPIO_OUT16_Pin|GPIO_OUT15_Pin|GPIO_OUT14_Pin
                          |GPIO_OUT13_Pin|GPIO_OUT12_Pin|GPIO_OUT11_Pin|GPIO_OUT23_Pin
                          |GPIO_OUT22_Pin, GPIO_PIN_SET);

  /*Configure GPIO pins : GPIO_OUT3_Pin GPIO_OUT4_Pin GPIO_OUT5_Pin GPIO_OUT6_Pin
                           GPIO_OUT7_Pin GPIO_OUT2_Pin */
  GPIO_InitStruct.Pin = GPIO_OUT3_Pin|GPIO_OUT4_Pin|GPIO_OUT5_Pin|GPIO_OUT6_Pin
                          |GPIO_OUT7_Pin|GPIO_OUT2_Pin;
  GPIO_InitStruct.Mode = GPIO_MODE_OUTPUT_PP;
  GPIO_InitStruct.Pull = GPIO_NOPULL;
  GPIO_InitStruct.Speed = GPIO_SPEED_FREQ_LOW;
  HAL_GPIO_Init(GPIOE, &GPIO_InitStruct);

  /*Configure GPIO pin : GPIO_OUT8_Pin */
  GPIO_InitStruct.Pin = GPIO_OUT8_Pin;
  GPIO_InitStruct.Mode = GPIO_MODE_OUTPUT_PP;
  GPIO_InitStruct.Pull = GPIO_NOPULL;
  GPIO_InitStruct.Speed = GPIO_SPEED_FREQ_LOW;
  HAL_GPIO_Init(GPIO_OUT8_GPIO_Port, &GPIO_InitStruct);

  /*Configure GPIO pins : GPIO_IN1_Pin GPIO_IN2_Pin GPIO_IN3_Pin GPIO_IN4_Pin
                           GPIO_IN5_Pin GPIO_IN6_Pin */
  GPIO_InitStruct.Pin = GPIO_IN1_Pin|GPIO_IN2_Pin|GPIO_IN3_Pin|GPIO_IN4_Pin
                          |GPIO_IN5_Pin|GPIO_IN6_Pin;
  GPIO_InitStruct.Mode = GPIO_MODE_INPUT;
  GPIO_InitStruct.Pull = GPIO_NOPULL;
  HAL_GPIO_Init(GPIOC, &GPIO_InitStruct);

  /*Configure GPIO pin : LED_GR_Pin */
  GPIO_InitStruct.Pin = LED_GR_Pin;
  GPIO_InitStruct.Mode = GPIO_MODE_OUTPUT_PP;
  GPIO_InitStruct.Pull = GPIO_NOPULL;
  GPIO_InitStruct.Speed = GPIO_SPEED_FREQ_LOW;
  HAL_GPIO_Init(LED_GR_GPIO_Port, &GPIO_InitStruct);

  /*Configure GPIO pins : GPIO_OUT24_Pin GPIO_OUT25_Pin */
  GPIO_InitStruct.Pin = GPIO_OUT24_Pin|GPIO_OUT25_Pin;
  GPIO_InitStruct.Mode = GPIO_MODE_OUTPUT_PP;
  GPIO_InitStruct.Pull = GPIO_PULLUP;
  GPIO_InitStruct.Speed = GPIO_SPEED_FREQ_VERY_HIGH;
  HAL_GPIO_Init(GPIOA, &GPIO_InitStruct);

  /*Configure GPIO pin : PA5 */
  GPIO_InitStruct.Pin = GPIO_PIN_5;
  GPIO_InitStruct.Mode = GPIO_MODE_AF_PP;
  GPIO_InitStruct.Pull = GPIO_PULLDOWN;
  GPIO_InitStruct.Speed = GPIO_SPEED_FREQ_HIGH;
  GPIO_InitStruct.Alternate = GPIO_AF5_SPI1;
  HAL_GPIO_Init(GPIOA, &GPIO_InitStruct);

  /*Configure GPIO pin : GPIO_IN7_Pin */
  GPIO_InitStruct.Pin = GPIO_IN7_Pin;
  GPIO_InitStruct.Mode = GPIO_MODE_INPUT;
  GPIO_InitStruct.Pull = GPIO_NOPULL;
  HAL_GPIO_Init(GPIO_IN7_GPIO_Port, &GPIO_InitStruct);

  /*Configure GPIO pins : GPIO_OUT18_Pin GPIO_OUT26_Pin */
  GPIO_InitStruct.Pin = GPIO_OUT18_Pin|GPIO_OUT26_Pin;
  GPIO_InitStruct.Mode = GPIO_MODE_OUTPUT_OD;
  GPIO_InitStruct.Pull = GPIO_NOPULL;
  GPIO_InitStruct.Speed = GPIO_SPEED_FREQ_LOW;
  HAL_GPIO_Init(GPIOB, &GPIO_InitStruct);

  /*Configure GPIO pins : GPIO_OUT17_Pin GPIO_OUT16_Pin GPIO_OUT15_Pin GPIO_OUT14_Pin
                           GPIO_OUT13_Pin GPIO_OUT12_Pin GPIO_OUT11_Pin */
  GPIO_InitStruct.Pin = GPIO_OUT17_Pin|GPIO_OUT16_Pin|GPIO_OUT15_Pin|GPIO_OUT14_Pin
                          |GPIO_OUT13_Pin|GPIO_OUT12_Pin|GPIO_OUT11_Pin;
  GPIO_InitStruct.Mode = GPIO_MODE_OUTPUT_OD;
  GPIO_InitStruct.Pull = GPIO_NOPULL;
  GPIO_InitStruct.Speed = GPIO_SPEED_FREQ_LOW;
  HAL_GPIO_Init(GPIOE, &GPIO_InitStruct);

  /*Configure GPIO pins : GPIO_OUT23_Pin GPIO_OUT22_Pin */
  GPIO_InitStruct.Pin = GPIO_OUT23_Pin|GPIO_OUT22_Pin;
  GPIO_InitStruct.Mode = GPIO_MODE_OUTPUT_PP;
  GPIO_InitStruct.Pull = GPIO_PULLUP;
  GPIO_InitStruct.Speed = GPIO_SPEED_FREQ_VERY_HIGH;
  HAL_GPIO_Init(GPIOE, &GPIO_InitStruct);

  /*Configure GPIO pins : GPIO_OUT21_Pin GPIO_OUT20_Pin GPIO_OUT19_Pin */
  GPIO_InitStruct.Pin = GPIO_OUT21_Pin|GPIO_OUT20_Pin|GPIO_OUT19_Pin;
  GPIO_InitStruct.Mode = GPIO_MODE_OUTPUT_PP;
  GPIO_InitStruct.Pull = GPIO_PULLUP;
  GPIO_InitStruct.Speed = GPIO_SPEED_FREQ_VERY_HIGH;
  HAL_GPIO_Init(GPIOB, &GPIO_InitStruct);

  /*Configure GPIO pins : SDIO_D0_Pin SDIO_D1_Pin SDIO_D2_Pin SDIO_D3_Pin
                           SDIO_CK_Pin */
  GPIO_InitStruct.Pin = SDIO_D0_Pin|SDIO_D1_Pin|SDIO_D2_Pin|SDIO_D3_Pin
                          |SDIO_CK_Pin;
  GPIO_InitStruct.Mode = GPIO_MODE_AF_PP;
  GPIO_InitStruct.Pull = GPIO_PULLUP;
  GPIO_InitStruct.Speed = GPIO_SPEED_FREQ_VERY_HIGH;
  GPIO_InitStruct.Alternate = GPIO_AF12_SDIO;
  HAL_GPIO_Init(GPIOC, &GPIO_InitStruct);

  /*Configure GPIO pin : F_CS_Pin */
  GPIO_InitStruct.Pin = F_CS_Pin;
  GPIO_InitStruct.Mode = GPIO_MODE_OUTPUT_PP;
  GPIO_InitStruct.Pull = GPIO_PULLUP;
  GPIO_InitStruct.Speed = GPIO_SPEED_FREQ_LOW;
  HAL_GPIO_Init(F_CS_GPIO_Port, &GPIO_InitStruct);

  /*Configure GPIO pin : SDIO_CMD_Pin */
  GPIO_InitStruct.Pin = SDIO_CMD_Pin;
  GPIO_InitStruct.Mode = GPIO_MODE_AF_PP;
  GPIO_InitStruct.Pull = GPIO_PULLUP;
  GPIO_InitStruct.Speed = GPIO_SPEED_FREQ_VERY_HIGH;
  GPIO_InitStruct.Alternate = GPIO_AF12_SDIO;
  HAL_GPIO_Init(SDIO_CMD_GPIO_Port, &GPIO_InitStruct);

  /*Configure GPIO pin : PB4 */
  GPIO_InitStruct.Pin = GPIO_PIN_4;
  GPIO_InitStruct.Mode = GPIO_MODE_AF_PP;
  GPIO_InitStruct.Pull = GPIO_PULLUP;
  GPIO_InitStruct.Speed = GPIO_SPEED_FREQ_HIGH;
  GPIO_InitStruct.Alternate = GPIO_AF5_SPI1;
  HAL_GPIO_Init(GPIOB, &GPIO_InitStruct);

  /*Configure GPIO pin : PB5 */
  GPIO_InitStruct.Pin = GPIO_PIN_5;
  GPIO_InitStruct.Mode = GPIO_MODE_AF_PP;
  GPIO_InitStruct.Pull = GPIO_NOPULL;
  GPIO_InitStruct.Speed = GPIO_SPEED_FREQ_HIGH;
  GPIO_InitStruct.Alternate = GPIO_AF5_SPI1;
  HAL_GPIO_Init(GPIOB, &GPIO_InitStruct);

  /*Configure GPIO pin : GPIO_OUT1_Pin */
  GPIO_InitStruct.Pin = GPIO_OUT1_Pin;
  GPIO_InitStruct.Mode = GPIO_MODE_OUTPUT_PP;
  GPIO_InitStruct.Pull = GPIO_NOPULL;
  GPIO_InitStruct.Speed = GPIO_SPEED_FREQ_VERY_HIGH;
  HAL_GPIO_Init(GPIO_OUT1_GPIO_Port, &GPIO_InitStruct);

}

void HAL_TIM_PeriodElapsedCallback(TIM_HandleTypeDef *htim)
{
  /* USER CODE BEGIN Callback 0 */
	if(htim->Instance == TIM7) {
		mscounter++;
		if((mscounter % 10) == 0) {

			if(Running_Flag){	//?��?��?�� �???????????��
				TotalTime++;
				fProcessTime[CurrentProcess]++;
				if(EndTimer_Flag == 0){	//?��?�� ???���?????????? ?��?��
					EndTimeCounter--;	//카운?��
					if(EndTimeCounter>30000){
						EndTimeCounter=0;
					}
					if(EndTimeCounter == 0){
						EndTimer_Flag = 1;	//???���?????????? ?���??????????
						Endtime_Check_Process();
						CurrentStep++;
					}
					if(StepTime[CurrentStep] > 0){
						ProcessTime[CurrentProcess]--;
						StepTime[CurrentStep]--;
						CycleTime--;
					}
					if(StepTime[CurrentStep] <= 0){
						StepTime[CurrentStep]=0;
					}
					if(ProcessTime[CurrentProcess] <= 0){
						ProcessTime[CurrentProcess]=0;
					}
					if(CycleTime <= 0){
						CycleTime=0;
					}
					DeviceErrorProcess();

				}
			}
			if(TestMode==1){
				if(EndTimer_Flag == 0){	//?��?�� ???���?????????? ?��?��
					EndTimeCounter--;	//카운?��
					if(EndTimeCounter == 0){
						EndTimer_Flag = 1;	//???���?????????? ?���??????????
					}
					EndTestTimeCounter--;
					if(EndTestTimeCounter == 0){
						EndTestTimeCounter = 1;	//???���?????????? ?���??????????
					}
				}
			}
			else if(TestMode==2){
				if(EndTimer_Flag == 0){	//?��?�� ???���?????????? ?��?��
					EndTimeCounter--;	//카운?��
					if(EndTimeCounter == 0){
						EndTimer_Flag = 1;	//???���?????????? ?���??????????
					}
				}
			}
			else if(TestMode==3){
				if(EndTimer_Flag == 0){	//?��?�� ???���?????????? ?��?��
					EndTimeCounter--;	//카운?��
					if(EndTimeCounter == 0){
						EndTimer_Flag = 1;	//???���?????????? ?���??????????
					}
				}
			}
			else if(TestMode==9){
				if(EndTimer_Flag == 0){	//?��?�� ???���?????????? ?��?��
					EndTimeCounter--;	//카운?��
					if(EndTimeCounter == 0){
						EndTimer_Flag = 1;	//???���?????????? ?���??????????
					}
					EndTestTimeCounter--;
					if(EndTestTimeCounter == 0){
						EndTestTimeCounter = 1;	//???���?????????? ?���??????????
					}
				}
			}
		}
		if((mscounter % 100) == 0) {
			Timer_DeliSecond_Flag = 1;
		}
		if((mscounter % 500) == 0){
			Timer_Half_1s_Flag = 1;
			HAL_GPIO_TogglePin(LED_GR_GPIO_Port, LED_GR_Pin);
		}
		if(mscounter == 1000) {
			mscounter = 0;
			Timer_1s_Flag = 1;
		}
	}
  /* USER CODE END Callback 0 */
  if (htim->Instance == TIM6) {
    HAL_IncTick();
  }
}

void Error_Handler(void)
{
  __disable_irq();
  while (1)
  {
  }
}
